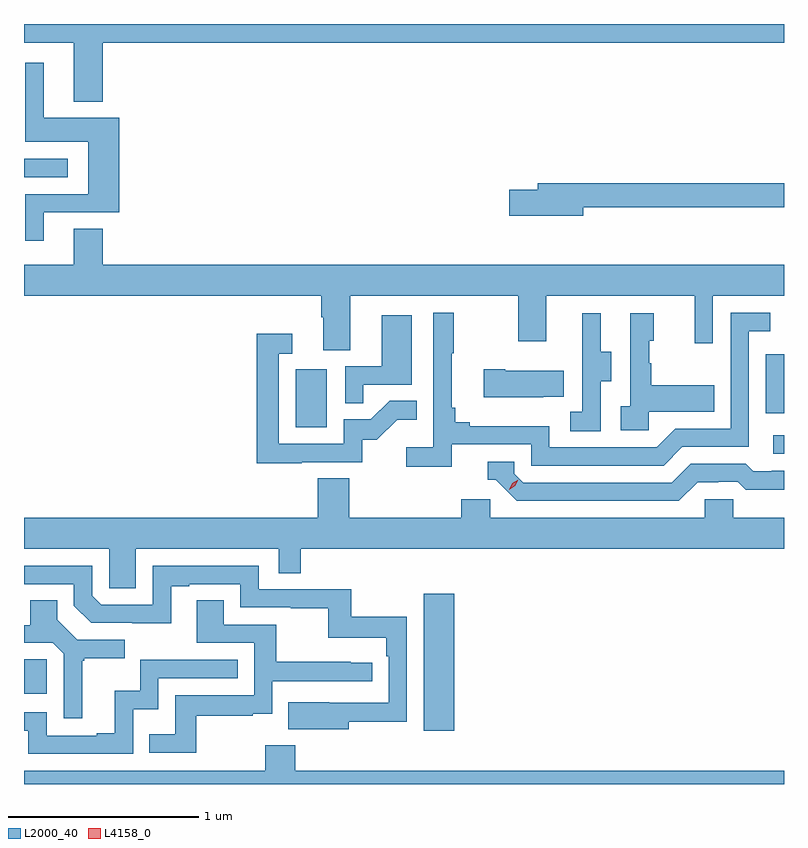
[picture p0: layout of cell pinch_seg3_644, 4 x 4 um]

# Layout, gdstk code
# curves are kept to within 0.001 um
import gdstk
lib = gdstk.Library(unit=1e-6, precision=1e-09)
def R(c, l, rs):  # rectangles x0, y0, x1, y1
    for r in rs: c.add(gdstk.rectangle(r[:2], r[2:], *l))
def P(c, l, *ps):  # polygons
    for p in ps: c.add(gdstk.Polygon(p, *l))
L2000_40 = (2000, 40)
L4158_0 = (4158, 0)

pinch_seg3_644 = lib.new_cell('pinch_seg3_644')
R(pinch_seg3_644, L2000_40, [(1032.683,667.992,1032.844,668.713), (1030.579,668.187,1030.698,668.367), (1034.523,669.45,1034.579,669.546), (1032.008,669.588,1032.172,669.895), (1034.484,669.663,1034.579,669.972), (1030.579,670.905,1030.81,671.001)])
P(pinch_seg3_644, L2000_40, [(1030.994,671.612),(1034.579,671.612),(1034.579,671.711),(1030.579,671.711),(1030.579,671.612),(1030.841,671.612),(1030.841,671.303),(1030.994,671.303)],
  [(1030.684,670.719),(1031.08,670.719),(1031.08,671.218),(1030.684,671.218),(1030.684,671.506),(1030.586,671.506),(1030.586,671.09),(1030.916,671.09),(1030.916,670.815),(1030.586,670.815),(1030.586,670.569),(1030.684,670.569)],
  [(1033.522,670.746),(1034.579,670.746),(1034.579,670.874),(1033.283,670.874),(1033.283,670.838),(1033.134,670.838),(1033.134,670.703),(1033.522,670.703)],
  [(1032.295,670.28),(1033.18,670.28),(1033.18,670.041),(1033.327,670.041),(1033.327,670.28),(1034.108,670.28),(1034.108,670.032),(1034.205,670.032),(1034.205,670.28),(1034.579,670.28),(1034.579,670.444),(1030.994,670.444),(1030.994,670.634),(1030.841,670.634),(1030.841,670.444),(1030.579,670.444),(1030.579,670.28),(1032.143,670.28),(1032.143,670.168),(1032.155,670.168),(1032.155,669.994),(1032.295,669.994)],
  [(1032.83,669.498),(1033.248,669.498),(1033.248,669.387),(1033.945,669.387),(1034.044,669.486),(1034.394,669.486),(1034.394,670.095),(1034.507,670.095),(1034.507,670.191),(1034.298,670.191),(1034.298,669.582),(1034.007,669.582),(1033.908,669.483),(1033.344,669.483),(1033.344,669.595),(1032.925,669.595),(1032.925,669.614),(1032.848,669.614),(1032.848,669.691),(1032.829,669.691),(1032.829,669.979),(1032.841,669.979),(1032.841,670.192),(1032.732,670.192),(1032.732,669.484),(1032.591,669.484),(1032.591,669.382),(1032.83,669.382)],
  [(1033.866,669.671),(1034.213,669.671),(1034.213,669.811),(1033.879,669.811),(1033.879,669.926),(1033.869,669.926),(1033.869,670.044),(1033.894,670.044),(1033.894,670.189),(1033.77,670.189),(1033.77,669.698),(1033.719,669.698),(1033.719,669.573),(1033.866,669.573)],
  [(1033.614,669.832),(1033.669,669.832),(1033.669,669.987),(1033.615,669.987),(1033.615,670.189),(1033.517,670.189),(1033.517,669.975),(1033.518,669.975),(1033.518,669.671),(1033.455,669.671),(1033.455,669.568),(1033.614,669.568)],
  [(1032.365,669.813),(1032.619,669.813),(1032.619,670.177),(1032.461,670.177),(1032.461,669.909),(1032.27,669.909),(1032.27,669.715),(1032.365,669.715)],
  [(1032.041,669.405),(1032.36,669.405),(1032.36,669.522),(1032.436,669.522),(1032.543,669.629),(1032.647,669.629),(1032.647,669.728),(1032.503,669.728),(1032.405,669.63),(1032.261,669.63),(1032.261,669.501),(1031.919,669.501),(1031.919,669.975),(1031.992,669.975),(1031.992,670.081),(1031.803,670.081),(1031.803,669.4),(1032.041,669.4)],
  [(1033.313,669.749),(1033.421,669.749),(1033.421,669.886),(1033.111,669.886),(1033.111,669.894),(1032.999,669.894),(1032.999,669.746),(1033.313,669.746)],
  [(1034.125,669.3),(1034.232,669.3),(1034.232,669.303),(1034.335,669.303),(1034.377,669.261),(1034.579,669.261),(1034.579,669.36),(1034.515,669.36),(1034.515,669.357),(1034.416,669.357),(1034.377,669.396),(1034.088,669.396),(1033.989,669.297),(1033.206,669.297),(1033.158,669.345),(1033.158,669.408),(1033.019,669.408),(1033.019,669.312),(1033.062,669.312),(1033.173,669.201),(1034.026,669.201)],
  [(1034.579,669.112),(1034.313,669.112),(1034.313,669.21),(1034.163,669.21),(1034.163,669.112),(1033.032,669.112),(1033.032,669.21),(1032.881,669.21),(1032.881,669.112),(1032.29,669.112),(1032.29,669.32),(1032.125,669.32),(1032.125,669.112),(1030.579,669.112),(1030.579,668.948),(1031.028,668.948),(1031.028,668.74),(1031.167,668.74),(1031.167,668.948),(1031.919,668.948),(1031.919,668.821),(1032.035,668.821),(1032.035,668.948),(1034.579,668.948)],
  [(1032.289,668.038),(1032.594,668.038),(1032.594,668.59),(1032.301,668.59),(1032.301,668.736),(1031.814,668.736),(1031.814,668.859),(1031.256,668.859),(1031.256,668.655),(1030.986,668.655),(1030.938,668.703),(1030.938,668.859),(1030.579,668.859),(1030.579,668.763),(1030.842,668.763),(1030.842,668.649),(1030.932,668.559),(1031.353,668.558),(1031.353,668.751),(1031.449,668.751),(1031.449,668.763),(1031.718,668.763),(1031.718,668.64),(1031.983,668.64),(1031.983,668.635),(1032.18,668.635),(1032.18,668.48),(1032.485,668.48),(1032.485,668.384),(1032.498,668.384),(1032.498,668.139),(1031.971,668.14),(1031.971,668),(1032.289,668)],
  [(1031.485,668.07),(1031.783,668.07),(1031.783,668.081),(1031.886,668.081),(1031.886,668.253),(1032.412,668.253),(1032.412,668.349),(1032.299,668.349),(1032.299,668.354),(1031.906,668.354),(1031.906,668.55),(1031.629,668.55),(1031.629,668.678),(1031.489,668.678),(1031.489,668.454),(1031.79,668.454),(1031.79,668.178),(1031.374,668.178),(1031.374,667.972),(1031.239,667.972),(1031.239,667.875),(1031.485,667.875)],
  [(1030.885,668.361),(1030.897,668.361),(1030.897,668.372),(1031.11,668.372),(1031.11,668.469),(1030.86,668.469),(1030.753,668.576),(1030.753,668.678),(1030.613,668.678),(1030.613,668.546),(1030.579,668.546),(1030.579,668.454),(1030.731,668.454),(1030.788,668.397),(1030.788,668.058),(1030.885,668.058)],
  [(1031.154,668.105),(1031.286,668.105),(1031.286,668.268),(1031.705,668.268),(1031.705,668.364),(1031.19,668.364),(1031.19,668.203),(1031.057,668.203),(1031.057,667.978),(1030.961,667.978),(1030.961,667.965),(1030.698,667.965),(1030.698,668.088),(1030.579,668.088),(1030.579,667.992),(1030.602,667.992),(1030.602,667.869),(1031.154,667.869)],
  [(1034.579,667.78),(1032.007,667.78),(1032.007,667.915),(1031.848,667.915),(1031.848,667.78),(1030.579,667.78),(1030.579,667.711),(1034.579,667.711)])
P(pinch_seg3_644, L4158_0, [(1033.133,669.26),(1033.133,669.261),(1033.149,669.293),(1033.18,669.312),(1033.18,669.312),(1033.18,669.312),(1033.164,669.28),(1033.133,669.26)])

lib.write_gds('pinch_seg3_644.gds')
